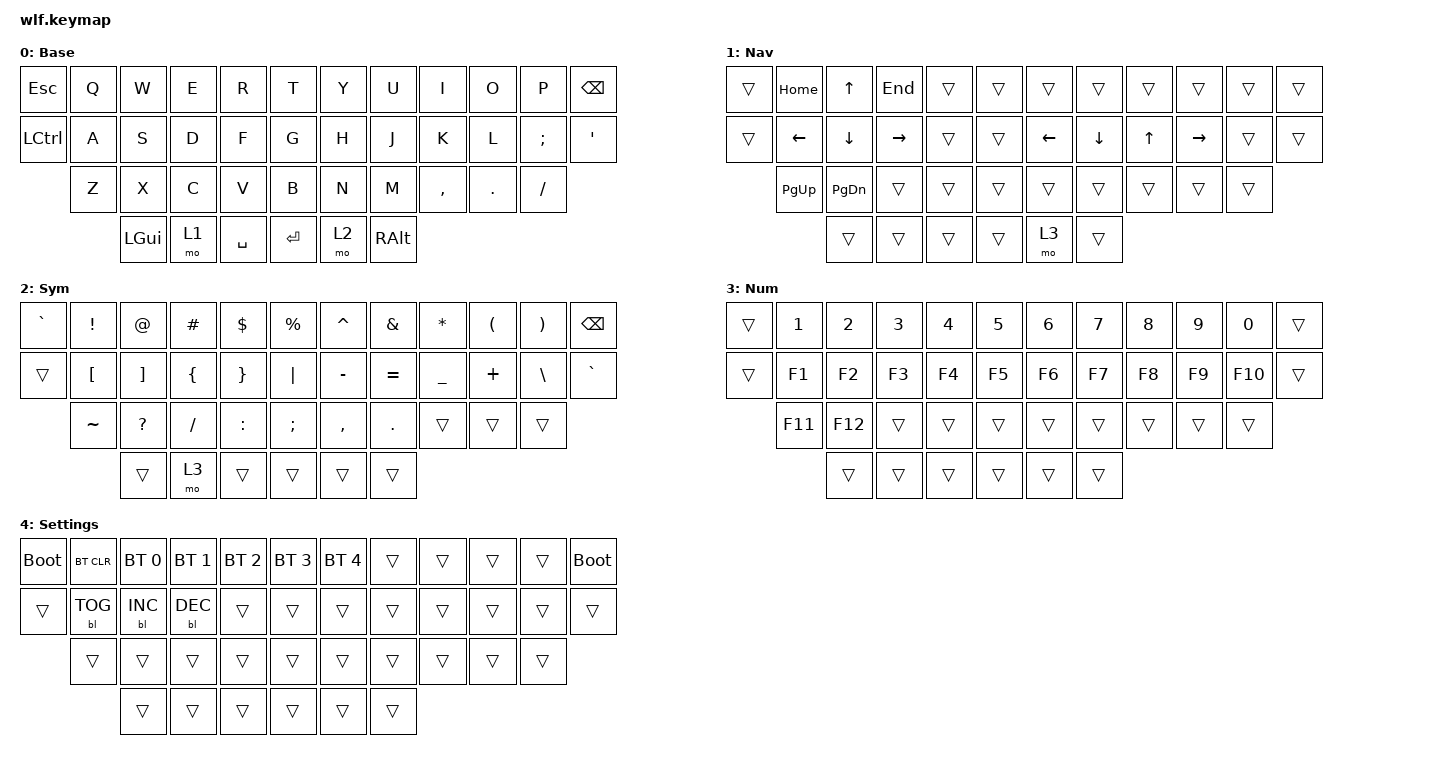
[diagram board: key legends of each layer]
#include <behaviors.dtsi>
#include <dt-bindings/zmk/backlight.h>
#include <dt-bindings/zmk/bt.h>
#include <dt-bindings/zmk/keys.h>

/ {
    keymap {
        compatible = "zmk,keymap";

        base {
            display-name = "Base";
            bindings = <
&kp ESC     &kp Q       &kp W       &kp E       &kp R       &kp T           &kp Y       &kp U       &kp I       &kp O       &kp P       &kp BSPC
&kp LCTRL   &kp A       &kp S       &kp D       &kp F       &kp G           &kp H       &kp J       &kp K       &kp L       &kp SEMI    &kp APOS
            &kp Z       &kp X       &kp C       &kp V       &kp B           &kp N       &kp M       &kp COMMA   &kp DOT     &kp FSLH
                        &kp LGUI    &mo 1       &kp SPACE       &kp ENTER   &mo 2       &kp RALT
            >;
        };

        navigation {
            display-name = "Nav";
            bindings = <
&trans      &kp HOME    &kp UP      &kp END     &trans      &trans          &trans      &trans      &trans      &trans      &trans      &trans
&trans      &kp LEFT    &kp DOWN    &kp RIGHT   &trans      &trans          &kp LEFT    &kp DOWN    &kp UP      &kp RIGHT   &trans      &trans
            &kp PG_UP   &kp PG_DN   &trans      &trans      &trans          &trans      &trans      &trans      &trans      &trans
                        &trans      &trans      &trans          &trans      &mo 3       &trans
            >;
        };

        symbols {
            display-name = "Sym";
            bindings = <
&kp GRAVE   &kp EXCL    &kp AT      &kp HASH    &kp DLLR    &kp PRCNT       &kp CARET   &kp AMPS    &kp ASTRK   &kp LPAR    &kp RPAR    &kp BSPC
&trans      &kp LEFT_BRACKET &kp RIGHT_BRACKET &kp LEFT_BRACE &kp RIGHT_BRACE &kp PIPE  &kp MINUS   &kp EQUAL   &kp UNDER   &kp PLUS    &kp BACKSLASH &kp GRAVE
            &kp TILDE   &kp QUESTION &kp SLASH   &kp COLON   &kp SEMI        &kp COMMA  &kp DOT     &trans      &trans      &trans
                        &trans      &mo 3       &trans          &trans      &trans      &trans
            >;
        };

        numbers {
            display-name = "Num";
            bindings = <
&trans      &kp N1      &kp N2      &kp N3      &kp N4      &kp N5          &kp N6      &kp N7      &kp N8      &kp N9      &kp N0      &trans
&trans      &kp F1      &kp F2      &kp F3      &kp F4      &kp F5          &kp F6      &kp F7      &kp F8      &kp F9      &kp F10     &trans
            &kp F11     &kp F12     &trans      &trans      &trans          &trans      &trans      &trans      &trans      &trans
                        &trans      &trans      &trans          &trans      &trans      &trans
            >;
        };

        settings {
            display-name = "Settings";
            bindings = <
&bootloader &bt BT_CLR  &bt BT_SEL 0 &bt BT_SEL 1 &bt BT_SEL 2 &bt BT_SEL 3    &bt BT_SEL 4 &trans &trans &trans &trans &bootloader
&trans      &bl BL_TOG  &bl BL_INC   &bl BL_DEC   &trans       &trans          &trans       &trans &trans &trans &trans &trans
            &trans      &trans       &trans       &trans       &trans          &trans       &trans &trans &trans &trans
                        &trans       &trans       &trans          &trans       &trans &trans
            >;
        };
    };
};
